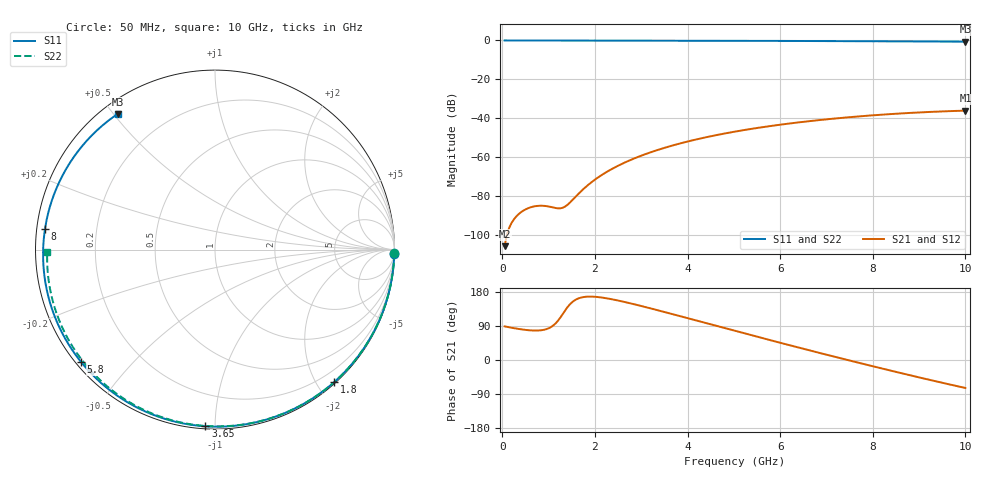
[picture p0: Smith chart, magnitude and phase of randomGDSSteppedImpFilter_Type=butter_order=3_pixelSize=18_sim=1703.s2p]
! freq	dB(S11)	phase(S11)	dB(S12)	phase(S12)
!  dB(S21)	phase(S21)	dB(S22)	phase(S22)
!S-par simulation data
#  GHz  S  DB  R 50
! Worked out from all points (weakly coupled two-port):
!   200 points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, 50 MHz to 10 GHz, reference 50 ohm
!   highest |S21| = -36.00 dB at 10 GHz (marker M1); lowest = -105.5 dB at 50 MHz (marker M2)
!   lowest |S11| = -0.6 dB at 10 GHz (marker M3), VSWR 27.73, Z = 2.28 + j25.6 ohm
!   |S11| at or under -10 dB: nowhere
!   |S22| runs from -0.6 to 0.0 dB; largest |S21 - S12| = 0
!   S11 on the Smith chart (normalised r, x): 50 MHz: 2, -87; 1.8 GHz: 0.02, -2.24; 3.65 GHz: 0.01, -0.95; 5.8 GHz: 0.01, -0.36; 8 GHz: 0.02, +0.06; 10 GHz: 0.05, +0.51
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0.05  -0.00 -1.3  -105.53 88.7  -105.53 88.7  -0.00 -1.0
0.4  -0.02 -10.9  -88.18 81.1  -88.18 81.1  -0.01 -8.2
0.75  -0.03 -20.4  -84.90 77.7  -84.90 77.7  -0.02 -15.3
1.15  -0.04 -31.1  -85.95 96.5  -85.95 96.5  -0.03 -23.3
1.55  -0.05 -41.6  -81.00 156.5  -81.00 156.5  -0.04 -31.3
1.6  -0.05 -42.9  -79.77 160.1  -79.77 160.1  -0.04 -32.3
1.75  -0.06 -46.8  -76.28 166.0  -76.28 166.0  -0.04 -35.3
1.8  -0.06 -48.1  -75.21 166.8  -75.21 166.8  -0.05 -36.2
2.1  -0.07 -55.7  -69.75 165.6  -69.75 165.6  -0.05 -42.1
2.45  -0.08 -64.5  -64.88 158.3  -64.88 158.3  -0.06 -48.9
2.9  -0.10 -75.5  -60.04 145.6  -60.04 145.6  -0.07 -57.4
3.4  -0.11 -87.3  -55.84 129.9  -55.84 129.9  -0.09 -66.7
3.65  -0.12 -93.1  -54.07 121.9  -54.07 121.9  -0.10 -71.3
4.35  -0.15 -108.9  -49.92 99.0  -49.92 99.0  -0.12 -83.8
5.05  -0.18 -124.1  -46.66 76.1  -46.66 76.1  -0.15 -96.0
5.8  -0.23 -140.0  -43.87 51.8  -43.87 51.8  -0.18 -108.6
6.7  -0.29 -158.9  -41.22 23.4  -41.22 23.4  -0.24 -123.5
7.35  -0.35 -172.7  -39.68 3.2  -39.68 3.2  -0.29 -134.2
8  -0.41 173.2  -38.41 -16.5  -38.41 -16.5  -0.35 -144.8
8.35  -0.44 165.4  -37.83 -26.9  -37.83 -26.9  -0.38 -150.6
9.15  -0.53 146.8  -36.76 -50.2  -36.76 -50.2  -0.47 -164.2
10  -0.63 125.7  -36.00 -73.8  -36.00 -73.8  -0.59 -179.2
